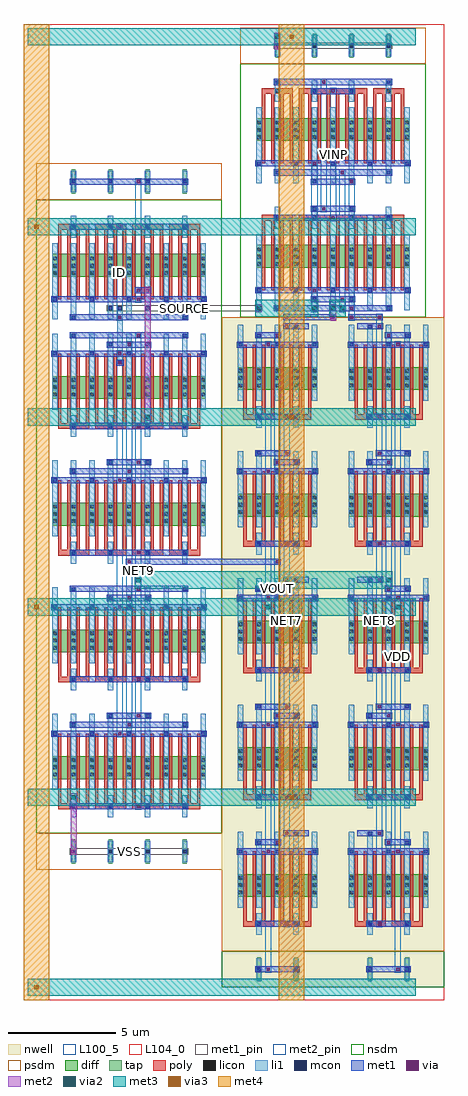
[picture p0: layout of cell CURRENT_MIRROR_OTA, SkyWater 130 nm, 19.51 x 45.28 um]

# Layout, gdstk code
import gdstk
lib = gdstk.Library(unit=1e-6, precision=1e-09)
def R(c, l, rs):  # rectangles x0, y0, x1, y1
    for r in rs: c.add(gdstk.rectangle(r[:2], r[2:], *l))
def A(c, l, x, y, w, h, nx, ny, dx, dy):  # array of equal rectangles
    R(c, l, [(x+i*dx, y+j*dy, x+i*dx+w, y+j*dy+h) for i in range(nx) for j in range(ny)])
nwell = (64, 20)
diff = (65, 20)
tap = (65, 44)
poly = (66, 20)
licon = (66, 44)
li1 = (67, 20)
mcon = (67, 44)
met1_pin = (68, 16)
met1 = (68, 20)
via = (68, 44)
met2_pin = (69, 16)
met2 = (69, 20)
via2 = (69, 44)
met3 = (70, 20)
via3 = (70, 44)
met4 = (71, 20)
nsdm = (93, 44)
psdm = (94, 20)
L100_5 = (100, 5)
L104_0 = (104, 0)

current_mirror_ota = lib.new_cell('CURRENT_MIRROR_OTA')
R(current_mirror_ota, nwell, [(8.6,0,13.76,31.08), (13.76,0,18.92,31.08)])
A(current_mirror_ota, diff, 9.335, 4.2, 3.69, 1.05, 1, 5, 0, 5.88)
A(current_mirror_ota, diff, 14.495, 4.2, 3.69, 1.05, 1, 5, 0, 5.88)
A(current_mirror_ota, diff, 0.735, 9.66, 7.13, 1.05, 1, 4, 0, 5.88)
R(current_mirror_ota, diff, [(0.735,32.97,7.865,34.02), (10.195,33.39,17.325,34.44), (10.195,39.27,17.325,40.32)])
A(current_mirror_ota, tap, 1.635, 5.74, 0.17, 1.12, 4, 2, 1.72, 31.08)
A(current_mirror_ota, tap, 11.095, 43.12, 0.17, 1.12, 4, 1, 1.72, 0)
R(current_mirror_ota, tap, [(10.235,0.28,10.405,1.4), (11.955,0.28,12.125,1.4), (15.395,0.28,15.565,1.4), (17.115,0.28,17.285,1.4)])
A(current_mirror_ota, poly, 9.6, 2.805, 1.44, 0.27, 1, 5, 0, 5.88)
A(current_mirror_ota, poly, 11.32, 2.805, 1.44, 0.27, 1, 5, 0, 5.88)
A(current_mirror_ota, poly, 14.76, 2.805, 1.44, 0.27, 1, 5, 0, 5.88)
A(current_mirror_ota, poly, 16.48, 2.805, 1.44, 0.27, 1, 5, 0, 5.88)
A(current_mirror_ota, poly, 9.6, 2.94, 0.15, 3.36, 8, 5, 0.43, 5.88)
A(current_mirror_ota, poly, 14.76, 2.94, 0.15, 3.36, 8, 5, 0.43, 5.88)
A(current_mirror_ota, poly, 1, 8.265, 1.44, 0.27, 4, 4, 1.72, 5.88)
A(current_mirror_ota, poly, 1, 8.4, 0.15, 3.36, 16, 5, 0.43, 5.88)
A(current_mirror_ota, poly, 10.46, 32.34, 0.15, 3.36, 16, 2, 0.43, 5.88)
A(current_mirror_ota, poly, 1, 35.145, 1.44, 0.27, 4, 1, 1.72, 0)
A(current_mirror_ota, poly, 10.46, 35.565, 1.44, 0.27, 4, 2, 1.72, 5.88)
A(current_mirror_ota, licon, 10.235, 2.855, 0.17, 0.17, 1, 5, 0, 5.88)
A(current_mirror_ota, licon, 11.955, 2.855, 0.17, 0.17, 1, 5, 0, 5.88)
A(current_mirror_ota, licon, 15.395, 2.855, 0.17, 0.17, 1, 5, 0, 5.88)
A(current_mirror_ota, licon, 17.115, 2.855, 0.17, 0.17, 1, 5, 0, 5.88)
A(current_mirror_ota, licon, 9.375, 4.32, 0.17, 0.17, 3, 3, 0.86, 0.34)
A(current_mirror_ota, licon, 11.095, 4.32, 0.17, 0.17, 3, 3, 0.86, 0.34)
A(current_mirror_ota, licon, 14.535, 4.32, 0.17, 0.17, 3, 3, 0.86, 0.34)
A(current_mirror_ota, licon, 16.255, 4.32, 0.17, 0.17, 3, 3, 0.86, 0.34)
A(current_mirror_ota, licon, 1.635, 8.315, 0.17, 0.17, 4, 4, 1.72, 5.88)
A(current_mirror_ota, licon, 0.775, 9.78, 0.17, 0.17, 3, 3, 0.86, 0.34)
A(current_mirror_ota, licon, 2.495, 9.78, 0.17, 0.17, 3, 3, 0.86, 0.34)
A(current_mirror_ota, licon, 4.215, 9.78, 0.17, 0.17, 3, 3, 0.86, 0.34)
A(current_mirror_ota, licon, 5.935, 9.78, 0.17, 0.17, 3, 3, 0.86, 0.34)
A(current_mirror_ota, licon, 9.375, 10.2, 0.17, 0.17, 3, 3, 0.86, 0.34)
A(current_mirror_ota, licon, 11.095, 10.2, 0.17, 0.17, 3, 3, 0.86, 0.34)
A(current_mirror_ota, licon, 14.535, 10.2, 0.17, 0.17, 3, 3, 0.86, 0.34)
A(current_mirror_ota, licon, 16.255, 10.2, 0.17, 0.17, 3, 3, 0.86, 0.34)
A(current_mirror_ota, licon, 0.775, 15.66, 0.17, 0.17, 3, 3, 0.86, 0.34)
A(current_mirror_ota, licon, 2.495, 15.66, 0.17, 0.17, 3, 3, 0.86, 0.34)
A(current_mirror_ota, licon, 4.215, 15.66, 0.17, 0.17, 3, 3, 0.86, 0.34)
A(current_mirror_ota, licon, 5.935, 15.66, 0.17, 0.17, 3, 3, 0.86, 0.34)
A(current_mirror_ota, licon, 9.375, 16.08, 0.17, 0.17, 3, 3, 0.86, 0.34)
A(current_mirror_ota, licon, 11.095, 16.08, 0.17, 0.17, 3, 3, 0.86, 0.34)
A(current_mirror_ota, licon, 14.535, 16.08, 0.17, 0.17, 3, 3, 0.86, 0.34)
A(current_mirror_ota, licon, 16.255, 16.08, 0.17, 0.17, 3, 3, 0.86, 0.34)
A(current_mirror_ota, licon, 0.775, 21.54, 0.17, 0.17, 3, 3, 0.86, 0.34)
A(current_mirror_ota, licon, 2.495, 21.54, 0.17, 0.17, 3, 3, 0.86, 0.34)
A(current_mirror_ota, licon, 4.215, 21.54, 0.17, 0.17, 3, 3, 0.86, 0.34)
A(current_mirror_ota, licon, 5.935, 21.54, 0.17, 0.17, 3, 3, 0.86, 0.34)
A(current_mirror_ota, licon, 9.375, 21.96, 0.17, 0.17, 3, 3, 0.86, 0.34)
A(current_mirror_ota, licon, 11.095, 21.96, 0.17, 0.17, 3, 3, 0.86, 0.34)
A(current_mirror_ota, licon, 14.535, 21.96, 0.17, 0.17, 3, 3, 0.86, 0.34)
A(current_mirror_ota, licon, 16.255, 21.96, 0.17, 0.17, 3, 3, 0.86, 0.34)
A(current_mirror_ota, licon, 0.775, 27.42, 0.17, 0.17, 3, 3, 0.86, 0.34)
A(current_mirror_ota, licon, 2.495, 27.42, 0.17, 0.17, 3, 3, 0.86, 0.34)
A(current_mirror_ota, licon, 4.215, 27.42, 0.17, 0.17, 3, 3, 0.86, 0.34)
A(current_mirror_ota, licon, 5.935, 27.42, 0.17, 0.17, 3, 3, 0.86, 0.34)
A(current_mirror_ota, licon, 9.375, 27.84, 0.17, 0.17, 3, 3, 0.86, 0.34)
A(current_mirror_ota, licon, 11.095, 27.84, 0.17, 0.17, 3, 3, 0.86, 0.34)
A(current_mirror_ota, licon, 14.535, 27.84, 0.17, 0.17, 3, 3, 0.86, 0.34)
A(current_mirror_ota, licon, 16.255, 27.84, 0.17, 0.17, 3, 3, 0.86, 0.34)
A(current_mirror_ota, licon, 0.775, 33.05, 0.17, 0.17, 3, 3, 0.86, 0.34)
A(current_mirror_ota, licon, 2.495, 33.05, 0.17, 0.17, 3, 3, 0.86, 0.34)
A(current_mirror_ota, licon, 4.215, 33.05, 0.17, 0.17, 3, 3, 0.86, 0.34)
A(current_mirror_ota, licon, 5.935, 33.05, 0.17, 0.17, 3, 3, 0.86, 0.34)
A(current_mirror_ota, licon, 10.235, 33.47, 0.17, 0.17, 3, 3, 0.86, 0.34)
A(current_mirror_ota, licon, 11.955, 33.47, 0.17, 0.17, 3, 3, 0.86, 0.34)
A(current_mirror_ota, licon, 13.675, 33.47, 0.17, 0.17, 3, 3, 0.86, 0.34)
A(current_mirror_ota, licon, 15.395, 33.47, 0.17, 0.17, 3, 3, 0.86, 0.34)
A(current_mirror_ota, licon, 1.635, 35.195, 0.17, 0.17, 4, 2, 1.72, 2.1)
A(current_mirror_ota, licon, 11.095, 35.615, 0.17, 0.17, 4, 2, 1.72, 5.88)
A(current_mirror_ota, licon, 10.235, 39.35, 0.17, 0.17, 3, 3, 0.86, 0.34)
A(current_mirror_ota, licon, 11.955, 39.35, 0.17, 0.17, 3, 3, 0.86, 0.34)
A(current_mirror_ota, licon, 13.675, 39.35, 0.17, 0.17, 3, 3, 0.86, 0.34)
A(current_mirror_ota, licon, 15.395, 39.35, 0.17, 0.17, 3, 3, 0.86, 0.34)
R(current_mirror_ota, licon, [(10.235,0.755,10.405,0.925), (10.235,0.755,10.405,0.925), (10.235,0.755,10.405,0.925), (10.235,0.755,10.405,0.925), (10.235,0.755,10.405,0.925), (11.955,0.755,12.125,0.925), (11.955,0.755,12.125,0.925), (11.955,0.755,12.125,0.925), (11.955,0.755,12.125,0.925), (11.955,0.755,12.125,0.925), (15.395,0.755,15.565,0.925), (15.395,0.755,15.565,0.925), (15.395,0.755,15.565,0.925), (15.395,0.755,15.565,0.925), (15.395,0.755,15.565,0.925), (17.115,0.755,17.285,0.925), (17.115,0.755,17.285,0.925), (17.115,0.755,17.285,0.925), (17.115,0.755,17.285,0.925), (17.115,0.755,17.285,0.925), (1.635,6.215,1.805,6.385), (1.635,6.215,1.805,6.385), (1.635,6.215,1.805,6.385), (1.635,6.215,1.805,6.385), (3.355,6.215,3.525,6.385), (3.355,6.215,3.525,6.385), (3.355,6.215,3.525,6.385), (3.355,6.215,3.525,6.385), (5.075,6.215,5.245,6.385), (5.075,6.215,5.245,6.385), (5.075,6.215,5.245,6.385), (5.075,6.215,5.245,6.385), (6.795,6.215,6.965,6.385), (6.795,6.215,6.965,6.385), (6.795,6.215,6.965,6.385), (6.795,6.215,6.965,6.385), (11.095,43.595,11.265,43.765), (11.095,43.595,11.265,43.765), (12.815,43.595,12.985,43.765), (12.815,43.595,12.985,43.765), (14.535,43.595,14.705,43.765), (14.535,43.595,14.705,43.765), (16.255,43.595,16.425,43.765), (16.255,43.595,16.425,43.765)])
A(current_mirror_ota, li1, 10.195, 2.435, 0.25, 1.01, 1, 5, 0, 5.88)
A(current_mirror_ota, li1, 11.915, 2.435, 0.25, 1.01, 1, 5, 0, 5.88)
A(current_mirror_ota, li1, 15.355, 2.435, 0.25, 1.01, 1, 5, 0, 5.88)
A(current_mirror_ota, li1, 17.075, 2.435, 0.25, 1.01, 1, 5, 0, 5.88)
A(current_mirror_ota, li1, 9.335, 3.695, 0.25, 3.53, 5, 5, 0.86, 5.88)
A(current_mirror_ota, li1, 14.495, 3.695, 0.25, 3.53, 5, 5, 0.86, 5.88)
A(current_mirror_ota, li1, 1.595, 5.795, 0.25, 1.01, 4, 2, 1.72, 2.1)
A(current_mirror_ota, li1, 0.735, 9.155, 0.25, 3.53, 9, 4, 0.86, 5.88)
A(current_mirror_ota, li1, 1.595, 13.775, 0.25, 1.01, 4, 3, 1.72, 5.88)
A(current_mirror_ota, li1, 0.735, 30.995, 0.25, 3.53, 9, 1, 0.86, 0)
A(current_mirror_ota, li1, 10.195, 31.415, 0.25, 3.53, 9, 2, 0.86, 5.88)
A(current_mirror_ota, li1, 1.595, 34.775, 0.25, 1.01, 4, 2, 1.72, 2.1)
A(current_mirror_ota, li1, 11.055, 35.195, 0.25, 1.01, 4, 2, 1.72, 5.88)
A(current_mirror_ota, li1, 11.055, 43.175, 0.25, 1.01, 4, 1, 1.72, 0)
R(current_mirror_ota, li1, [(10.195,0.335,10.445,1.345), (11.915,0.335,12.165,1.345), (15.355,0.335,15.605,1.345), (17.075,0.335,17.325,1.345), (3.745,28.895,3.995,31.585)])
A(current_mirror_ota, mcon, 1.635, 6.215, 0.17, 0.17, 4, 2, 1.72, 2.1)
A(current_mirror_ota, mcon, 9.375, 6.215, 0.17, 0.17, 6, 5, 1.72, 5.88)
A(current_mirror_ota, mcon, 0.775, 11.675, 0.17, 0.17, 5, 4, 1.72, 5.88)
A(current_mirror_ota, mcon, 1.635, 14.195, 0.17, 0.17, 4, 3, 1.72, 5.88)
A(current_mirror_ota, mcon, 0.775, 31.835, 0.17, 0.17, 5, 1, 1.72, 0)
A(current_mirror_ota, mcon, 10.235, 32.255, 0.17, 0.17, 5, 2, 1.72, 5.88)
A(current_mirror_ota, mcon, 1.635, 35.195, 0.17, 0.17, 4, 2, 1.72, 2.1)
A(current_mirror_ota, mcon, 11.095, 43.595, 0.17, 0.17, 4, 1, 1.72, 0)
R(current_mirror_ota, mcon, [(10.235,0.755,10.405,0.925), (11.955,0.755,12.125,0.925), (15.395,0.755,15.565,0.925), (17.115,0.755,17.285,0.925), (10.235,2.855,10.405,3.025), (11.955,2.855,12.125,3.025), (15.395,2.855,15.565,3.025), (17.115,2.855,17.285,3.025), (10.235,6.635,10.405,6.805), (17.115,6.635,17.285,6.805), (11.955,7.055,12.125,7.225), (15.395,7.055,15.565,7.225), (10.235,8.735,10.405,8.905), (11.955,8.735,12.125,8.905), (15.395,8.735,15.565,8.905), (17.115,8.735,17.285,8.905), (1.635,12.095,1.805,12.265), (6.795,12.095,6.965,12.265), (3.355,12.515,3.525,12.685), (5.075,12.515,5.245,12.685), (11.955,12.515,12.125,12.685), (15.395,12.515,15.565,12.685), (10.235,12.935,10.405,13.105), (17.115,12.935,17.285,13.105), (10.235,14.615,10.405,14.785), (11.955,14.615,12.125,14.785), (15.395,14.615,15.565,14.785), (17.115,14.615,17.285,14.785), (3.355,17.975,3.525,18.145), (5.075,17.975,5.245,18.145), (1.635,18.395,1.805,18.565), (6.795,18.395,6.965,18.565), (10.235,18.395,10.405,18.565), (17.115,18.395,17.285,18.565), (11.955,18.815,12.125,18.985), (15.395,18.815,15.565,18.985), (10.235,20.495,10.405,20.665), (11.955,20.495,12.125,20.665), (15.395,20.495,15.565,20.665), (17.115,20.495,17.285,20.665), (1.635,23.855,1.805,24.025), (6.795,23.855,6.965,24.025), (3.355,24.275,3.525,24.445), (5.075,24.275,5.245,24.445), (11.955,24.275,12.125,24.445), (15.395,24.275,15.565,24.445), (10.235,24.695,10.405,24.865), (17.115,24.695,17.285,24.865), (10.235,26.375,10.405,26.545), (11.955,26.375,12.125,26.545), (15.395,26.375,15.565,26.545), (17.115,26.375,17.285,26.545), (3.785,28.895,3.955,29.065), (3.355,29.735,3.525,29.905), (5.075,29.735,5.245,29.905), (1.635,30.155,1.805,30.325), (6.795,30.155,6.965,30.325), (10.235,30.155,10.405,30.325), (17.115,30.155,17.285,30.325), (11.955,30.575,12.125,30.745), (15.395,30.575,15.565,30.745), (1.635,30.995,1.805,31.165), (6.795,30.995,6.965,31.165), (3.355,31.415,3.525,31.585), (3.785,31.415,3.955,31.585), (5.075,31.415,5.245,31.585), (11.095,31.415,11.265,31.585), (16.255,31.415,16.425,31.585), (12.815,31.835,12.985,32.005), (14.535,31.835,14.705,32.005), (11.095,35.615,11.265,35.785), (16.255,35.615,16.425,35.785), (12.815,36.035,12.985,36.205), (14.535,36.035,14.705,36.205), (12.815,37.295,12.985,37.465), (14.535,37.295,14.705,37.465), (11.095,37.715,11.265,37.885), (16.255,37.715,16.425,37.885), (12.815,41.495,12.985,41.665), (14.535,41.495,14.705,41.665), (11.095,41.915,11.265,42.085), (16.255,41.915,16.425,42.085)])
R(current_mirror_ota, met1_pin, [(1.55,6.16,7.05,6.44), (3.27,31.36,10.48,31.64), (11.01,43.54,16.51,43.82)])
A(current_mirror_ota, met1, 10.15, 2.8, 2.06, 0.28, 1, 5, 0, 5.88)
A(current_mirror_ota, met1, 15.31, 2.8, 2.06, 0.28, 1, 5, 0, 5.88)
A(current_mirror_ota, met1, 9.29, 6.16, 3.78, 0.28, 1, 5, 0, 5.88)
A(current_mirror_ota, met1, 14.45, 6.16, 3.78, 0.28, 1, 5, 0, 5.88)
A(current_mirror_ota, met1, 10.15, 6.58, 1.2, 0.28, 1, 3, 0, 11.76)
A(current_mirror_ota, met1, 16.17, 6.58, 1.2, 0.28, 1, 3, 0, 11.76)
A(current_mirror_ota, met1, 11.44, 7, 1.2, 0.28, 1, 3, 0, 11.76)
A(current_mirror_ota, met1, 14.88, 7, 1.2, 0.28, 1, 3, 0, 11.76)
A(current_mirror_ota, met1, 0.69, 11.62, 7.22, 0.28, 1, 4, 0, 5.88)
R(current_mirror_ota, met1, [(10.15,0.7,12.21,0.98), (15.31,0.7,17.37,0.98), (1.55,8.26,7.05,8.54), (1.55,12.04,7.05,12.32), (3.27,12.46,5.33,12.74), (11.01,12.46,12.21,12.74), (15.31,12.46,16.51,12.74), (10.15,12.88,11.78,13.16), (15.74,12.88,17.37,13.16), (1.55,14.14,7.05,14.42), (3.27,17.92,5.33,18.2), (1.55,18.34,7.05,18.62), (4.14,19.6,11.34,19.88), (1.55,20.02,7.05,20.3), (1.55,23.8,7.05,24.08), (3.27,24.22,5.33,24.5), (11.01,24.22,12.21,24.5), (15.31,24.22,16.51,24.5), (10.15,24.64,11.78,24.92), (15.74,24.64,17.37,24.92), (1.55,25.9,7.05,26.18), (3.7,28.84,4.04,29.12), (3.27,29.68,5.33,29.96), (1.55,30.1,7.05,30.38), (1.55,30.94,7.05,31.22), (11.45,30.94,13.92,31.22), (14.46,30.94,16.07,31.22), (11.01,31.36,16.51,31.64), (0.69,31.78,7.91,32.06), (12.73,31.78,14.79,32.06), (4.57,32.2,5.32,32.48), (10.15,32.2,17.37,32.48), (1.55,35.14,7.05,35.42), (11.01,35.56,16.51,35.84), (12.73,35.98,14.79,36.26), (1.55,37.24,7.05,37.52), (12.73,37.24,14.79,37.52), (11.01,37.66,16.51,37.94), (10.15,38.08,17.37,38.36), (12.73,41.44,14.79,41.72), (11.01,41.86,16.51,42.14)])
A(current_mirror_ota, via, 10.675, 6.225, 0.15, 0.15, 1, 5, 0, 5.88)
A(current_mirror_ota, via, 16.695, 6.225, 0.15, 0.15, 1, 5, 0, 5.88)
A(current_mirror_ota, via, 11.105, 6.645, 0.15, 0.15, 1, 3, 0, 5.88)
A(current_mirror_ota, via, 16.265, 6.645, 0.15, 0.15, 1, 5, 0, 5.88)
A(current_mirror_ota, via, 3.795, 11.685, 0.15, 0.15, 1, 3, 0, 5.88)
R(current_mirror_ota, via, [(10.675,0.765,10.825,0.915), (16.695,0.765,16.845,0.915), (11.535,2.865,11.685,3.015), (15.835,2.865,15.985,3.015), (1.645,6.225,1.795,6.375), (11.535,7.065,11.685,7.215), (15.835,7.065,15.985,7.215), (4.655,8.325,4.805,8.475), (11.535,8.745,11.685,8.895), (15.835,8.745,15.985,8.895), (4.225,12.105,4.375,12.255), (4.655,12.525,4.805,12.675), (11.535,12.945,11.685,13.095), (15.835,12.945,15.985,13.095), (4.655,14.205,4.805,14.355), (11.535,14.625,11.685,14.775), (15.835,14.625,15.985,14.775), (4.225,17.985,4.375,18.135), (4.655,18.405,4.805,18.555), (11.535,18.825,11.685,18.975), (15.835,18.825,15.985,18.975), (4.225,19.665,4.375,19.815), (11.105,19.665,11.255,19.815), (4.655,20.085,4.805,20.235), (11.535,20.505,11.685,20.655), (15.835,20.505,15.985,20.655), (4.225,23.865,4.375,24.015), (4.655,24.285,4.805,24.435), (11.105,24.285,11.255,24.435), (11.535,24.705,11.685,24.855), (15.835,24.705,15.985,24.855), (4.655,25.965,4.805,26.115), (11.535,26.385,11.685,26.535), (15.835,26.385,15.985,26.535), (3.795,28.905,3.945,29.055), (3.795,29.325,3.945,29.475), (4.225,29.745,4.375,29.895), (4.655,30.165,4.805,30.315), (11.105,30.165,11.255,30.315), (11.535,30.585,11.685,30.735), (15.835,30.585,15.985,30.735), (3.795,31.005,3.945,31.155), (11.535,31.005,11.685,31.155), (13.685,31.005,13.835,31.155), (14.545,31.005,14.695,31.155), (15.835,31.005,15.985,31.155), (10.245,31.425,10.395,31.575), (14.545,31.425,14.695,31.575), (4.655,31.845,4.805,31.995), (14.115,31.845,14.265,31.995), (4.655,32.265,4.805,32.415), (5.085,32.265,5.235,32.415), (12.825,32.265,12.975,32.415), (3.795,35.205,3.945,35.355), (13.685,35.625,13.835,35.775), (13.255,36.045,13.405,36.195), (4.655,37.305,4.805,37.455), (14.545,37.305,14.695,37.455), (14.115,37.725,14.265,37.875), (12.825,38.145,12.975,38.295), (13.685,41.505,13.835,41.655), (13.255,41.925,13.405,42.075), (11.105,43.605,11.255,43.755)])
R(current_mirror_ota, met2_pin, [(10.61,0.68,10.89,29.98), (16.63,0.68,16.91,29.98), (11.47,2.78,11.75,31.24), (15.77,2.78,16.05,31.24), (11.04,6.56,11.32,30.4), (16.2,6.56,16.48,30.4), (4.59,8.24,4.87,30.4), (3.73,11.6,4.01,29.56), (4.16,12.02,4.44,29.98), (3.73,30.92,4.01,35.44), (14.48,30.92,14.76,37.54), (12.76,31.315,13.04,38.38), (14.05,31.315,14.33,37.96), (4.59,31.76,4.87,37.54), (13.62,35.54,13.9,41.74), (13.19,35.96,13.47,42.16)])
R(current_mirror_ota, met2, [(1.58,6.14,1.86,9.005), (5.02,26.275,5.3,32.5), (13.62,30.92,13.9,31.685), (10.18,31.315,10.46,31.685), (11.04,43.52,11.32,44.285)])
R(current_mirror_ota, via2, [(1.62,8.72,1.82,8.92), (10.65,17.54,10.85,17.74), (16.67,17.54,16.87,17.74), (4.63,18.8,4.83,19), (16.24,18.8,16.44,19), (5.06,26.36,5.26,26.56), (10.22,31.4,10.42,31.6), (12.8,31.4,13,31.6), (13.66,31.4,13.86,31.6), (14.09,31.4,14.29,31.6), (11.08,44,11.28,44.2)])
A(current_mirror_ota, met3, -0.4, -0.4, 18, 0.8, 1, 6, 0, 8.82)
R(current_mirror_ota, met3, [(4.565,18.5,16.505,19.3), (10.155,31.1,13.065,31.9), (13.595,31.1,14.355,31.9)])
A(current_mirror_ota, via3, -0.1, -0.1, 0.2, 0.2, 1, 3, 0, 17.64)
A(current_mirror_ota, via3, 11.74, 8.72, 0.2, 0.2, 1, 3, 0, 17.64)
R(current_mirror_ota, met4, [(-0.59,-0.59,0.59,44.69), (11.25,-0.59,12.43,44.69)])
R(current_mirror_ota, nsdm, [(8.6,0,13.76,1.68), (13.76,0,18.92,1.68), (0,7.14,8.6,30.66), (0,30.66,8.6,36.54), (9.46,31.08,18.06,42.84)])
R(current_mirror_ota, psdm, [(8.6,1.68,13.76,31.08), (13.76,1.68,18.92,31.08), (0,5.46,8.6,7.14), (0,36.54,8.6,38.22), (9.46,42.84,18.06,44.52)])
R(current_mirror_ota, L100_5, [(-0.59,-0.59,18.92,44.69)])
R(current_mirror_ota, L104_0, [(-0.59,-0.59,18.92,44.69)])
current_mirror_ota.add(gdstk.Label('SOURCE', (6.875,31.5), layer=68, texttype=5))
current_mirror_ota.add(gdstk.Label('VSS', (4.3,6.3), layer=68, texttype=5))
current_mirror_ota.add(gdstk.Label('ID', (3.87,33.18), layer=69, texttype=5))
current_mirror_ota.add(gdstk.Label('NET9', (4.73,19.32), layer=69, texttype=5))
current_mirror_ota.add(gdstk.Label('NET8', (15.91,17.01), layer=69, texttype=5))
current_mirror_ota.add(gdstk.Label('VDD', (16.77,15.33), layer=69, texttype=5))
current_mirror_ota.add(gdstk.Label('NET7', (11.61,17.01), layer=69, texttype=5))
current_mirror_ota.add(gdstk.Label('VOUT', (11.18,18.48), layer=69, texttype=5))
current_mirror_ota.add(gdstk.Label('VINP', (13.76,38.64), layer=69, texttype=5))
current_mirror_ota.add(gdstk.Label('VINN', (13.33,39.06), layer=69, texttype=5))

lib.write_gds('CURRENT_MIRROR_OTA.gds')
